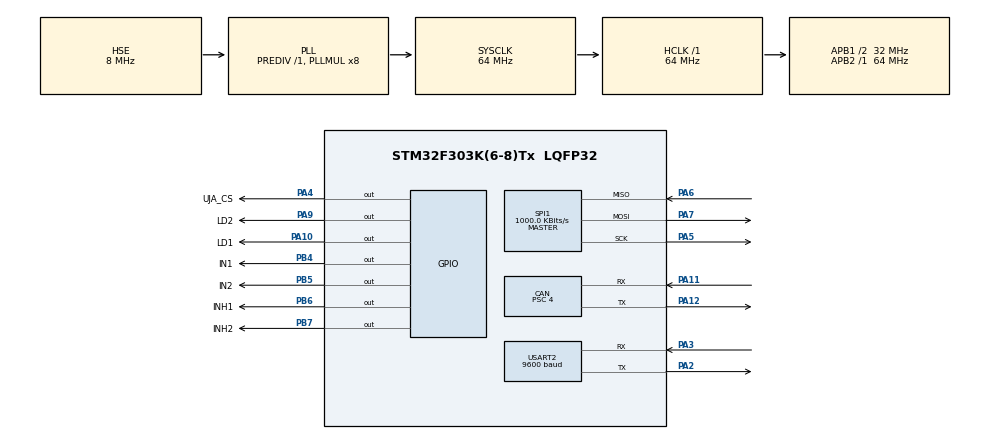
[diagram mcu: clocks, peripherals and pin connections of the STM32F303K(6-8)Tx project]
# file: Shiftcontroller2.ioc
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Mcu.Family=STM32F3
PA6.Mode=Full_Duplex_Master
RCC.CortexFreq_Value=64000000
PF0\ /\ OSC_IN.Mode=HSE-External-Oscillator
SPI1.VirtualType=VM_MASTER
NVIC.CAN_RX0_IRQn=true\:5\:0\:false\:true\:true\:1\:true\:true\:true
CAN.RFLM=DISABLE
RCC.SYSCLKSourceVirtual=RCC_SYSCLKSOURCE_PLLCLK
PA11.Mode=CAN_Activate
PB6.GPIO_Label=INH1
CAN.SJW=CAN_SJW_2TQ
SPI1.TIMode=SPI_TIMODE_DISABLE
ProjectManager.StackSize=0x400
VP_FREERTOS_VS_CMSIS_V2.Mode=CMSIS_V2
CAN.TTCM=DISABLE
PA12.Signal=CAN_TX
CAN.Prescaler=4
SPI1.Direction=SPI_DIRECTION_2LINES
RCC.HCLKFreq_Value=64000000
RCC.APB2TimFreq_Value=64000000
PB6.Signal=GPIO_Output
SPI1.CalculateBaudRate=1000.0 KBits/s
RCC.AHBFreq_Value=64000000
FREERTOS.configUSE_PREEMPTION=1
RCC.HSE_VALUE=8000000
PB3.Mode=JTAG_4_pins
USART2.VirtualMode-Asynchronous=VM_ASYNC
PA15.Mode=JTAG_4_pins
RCC.PLLMUL=RCC_PLL_MUL8
PA14.Mode=JTAG_4_pins
VP_SYS_VS_tim1.Mode=TIM1
CAN.NART=DISABLE
SPI1.DataSize=SPI_DATASIZE_8BIT
PA10.GPIO_Label=LD1
PB7.Signal=GPIO_Output
CAN.CalculateTimeQuantum=125.0
PB7.GPIO_Label=INH2
Mcu.Package=LQFP32
PA6.Signal=SPI1_MISO
NVIC.TimeBase=TIM1_UP_TIM16_IRQn
NVIC.TimeBaseIP=TIM1
PA10.Signal=GPIO_Output
PA15.Signal=SYS_JTDI
PB5.GPIO_Label=IN2
RCC.APB1TimFreq_Value=64000000
CAN.AWUM=DISABLE
SPI1.BaudRatePrescaler=SPI_BAUDRATEPRESCALER_64
PA4.GPIO_Label=UJA_CS
PB4.Signal=GPIO_Output
PA3.Signal=USART2_RX
PA5.Mode=Full_Duplex_Master
RCC.PLLSourceVirtual=RCC_PLLSOURCE_HSE
NVIC.CAN_RX1_IRQn=true\:5\:0\:false\:true\:true\:2\:true\:true\:true
FREERTOS.Tasks01=ShiftCar,24,128,StartShiftCar,Default,NULL,Dynamic,NULL,NULL;FeedWDG,40,128,StartFeedWDG,Default,NULL,Static,FeedWDGBuffer,FeedWDGControlBlock
PA7.Mode=Full_Duplex_Master
CAN.ABOM=ENABLE
CAN.CalculateBaudRate=1000000
PA9.GPIO_Label=LD2
SPI1.CLKPhase=SPI_PHASE_2EDGE
RCC.APB1CLKDivider=RCC_HCLK_DIV2
NVIC.USART2_IRQn=true\:5\:0\:false\:true\:true\:3\:true\:true\:true
USART2.BaudRate=9600
CAN.CalculateTimeBit=1000.00
FREERTOS.configUSE_IDLE_HOOK=1
PA13.Signal=SYS_JTMS-SWDIO
PA3.Mode=Asynchronous
CAN.BS2=CAN_BS2_2TQ
CAN.BS1=CAN_BS1_5TQ
ProjectManager.TargetToolchain=STM32CubeIDE
PA9.Signal=GPIO_Output
CAN.Mode=CAN_MODE_NORMAL
PF1\ /\ OSC_OUT.Signal=RCC_OSC_OUT
PA5.Signal=SPI1_SCK
board=custom
NVIC.SPI1_IRQn=true\:5\:0\:false\:false\:true\:true\:true\:true
RCC.APB2Freq_Value=64000000
PF0\ /\ OSC_IN.Signal=RCC_OSC_IN
PB4.GPIO_Label=IN1
SPI1.Mode=SPI_MODE_MASTER
PA13.Mode=JTAG_4_pins
Mcu.Name=STM32F303K(6-8)Tx
PA2.Signal=USART2_TX
PB3.Signal=SYS_JTDO-TRACESWO
PA4.Signal=GPIO_Output
RCC.SYSCLKFreq_VALUE=64000000
PB5.Signal=GPIO_Output
PA12.Mode=CAN_Activate
PA11.Signal=CAN_RX
PA14.Signal=SYS_JTCK-SWCLK
ProjectManager.HeapSize=0x200
RCC.HSI_VALUE=8000000
NVIC.TIM1_UP_TIM16_IRQn=true\:0\:0\:false\:false\:true\:false\:false\:true
NVIC.PriorityGroup=NVIC_PRIORITYGROUP_4
CAN.TXFP=DISABLE
PA2.Mode=Asynchronous
RCC.APB1Freq_Value=32000000
PF1\ /\ OSC_OUT.Mode=HSE-External-Oscillator
PA7.Signal=SPI1_MOSI

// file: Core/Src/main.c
/* USER CODE BEGIN Header */
/**
  ******************************************************************************
  * @file           : main.c
  * @brief          : Main program body
  ******************************************************************************
  * @attention
  *
  * <h2><center>&copy; Copyright (c) 2020 STMicroelectronics.
  * All rights reserved.</center></h2>
  *
  * This software component is licensed by ST under BSD 3-Clause license,
  * the "License"; You may not use this file except in compliance with the
  * License. You may obtain a copy of the License at:
  *                        opensource.org/licenses/BSD-3-Clause
  *
  ******************************************************************************
  */
/* USER CODE END Header */
#include "main.h"
#include "cmsis_os.h"

/* USER CODE BEGIN Includes */

//For sprintf and memcpy
#include "string.h"
//For atoi
#include "stdlib.h"
//For ceil()
#include "math.h"

/* USER CODE END Includes */

typedef StaticTask_t osStaticThreadDef_t;

/* USER CODE BEGIN PD */

//UJA Register Definitions

#define UJA_REG_WDGANDSTATUS 0
#define UJA_REG_MODECONTROL 1
#define UJA_REG_INTCON 2
#define UJA_REG_INTREAD 3

//WD_and_Status register
//RO
#define UJA_RO_RW 0
#define UJA_RO_R 1

//WMC
#define UJA_WMC_WND 0
#define UJA_WMC_TO 1

//NWP
#define UJA_NWP_8 0
#define UJA_NWP_16 1
#define UJA_NWP_32 2
#define UJA_NWP_64 3
#define UJA_NWP_128 4
#define UJA_NWP_256 5
#define UJA_NWP_1024 6
#define UJA_NWP_4096 7

//Mode_Control register
#define UJA_MC_STBY 0
#define UJA_MC_SLP 1
#define UJA_MC_V2OFF 2
#define UJA_MC_V2ON 3

//Int_Control register
#define UJA_V1UIE_OFF 0
#define UJA_V1UIE_ON 1

#define UJA_V2UIE_OFF 0
#define UJA_V2UIE_ON 1

//Message struct parameter
#define MSG_ENABLED 1
#define MSG_DISABLED 0

//CAN Output Frame bits
#define CAN_TXFRAME0_SHUTDOWN 1
#define CAN_TXFRAME0_BIT2 1<<1

/* USER CODE END PD */

CAN_HandleTypeDef hcan;

SPI_HandleTypeDef hspi1;

UART_HandleTypeDef huart2;

/* Definitions for ShiftCar */
osThreadId_t ShiftCarHandle;
const osThreadAttr_t ShiftCar_attributes = {
  .name = "ShiftCar",
  .priority = (osPriority_t) osPriorityNormal,
  .stack_size = 128 * 4
};
/* Definitions for FeedWDG */
osThreadId_t FeedWDGHandle;
uint32_t FeedWDGBuffer[ 128 ];
osStaticThreadDef_t FeedWDGControlBlock;
const osThreadAttr_t FeedWDG_attributes = {
  .name = "FeedWDG",
  .stack_mem = &FeedWDGBuffer[0],
  .stack_size = sizeof(FeedWDGBuffer),
  .cb_mem = &FeedWDGControlBlock,
  .cb_size = sizeof(FeedWDGControlBlock),
  .priority = (osPriority_t) osPriorityHigh,
};
/* USER CODE BEGIN PV */

struct message
{
	uint32_t id;
	uint8_t  bit;
	uint8_t length;
	int32_t value;
	uint8_t enabled;
};

//Create array of message structs to hold our filter information
struct message messageArray[4];

//Define starting filter array used on startup
const struct message defaultMessageArray[4] =
{
		//{ 0x370,   0,  16,   -1,  MSG_ENABLED  },  //Engine RPM
		{ 0x2C2,   0,   16,   -1,  MSG_ENABLED  },  //Upshift
		{ 0x2C2,  32,   16,   -1,  MSG_ENABLED  },  //Downshift
		{ 0x2C4,   0,   16,   -1,  MSG_ENABLED  },  //NeutralReq
		{ 0x2C6,   0,  32,   -1,  MSG_ENABLED  }   //Engine RPM
};

uint8_t can_rx_data[8];
CAN_RxHeaderTypeDef can_rx_header;

uint8_t can_tx_data[8] = {0, 0, 0, 0, 0, 0, 0, 0};
CAN_TxHeaderTypeDef can_tx_header = {0x200, 0, CAN_ID_STD, CAN_RTR_DATA, 8};

uint8_t uart_rec_buff[24];
char uart_tx_buff[128];

int8_t cmdcharbuffindex = 0;
uint8_t cmdbuff[20][24];
int8_t cmdbuffindex = 0;

uint8_t processingcommand = 0;
uint8_t cmdlen = 0;

const uint8_t WD_SETUP = (UJA_REG_WDGANDSTATUS << 5) | (UJA_RO_RW << 4) | (UJA_WMC_WND << 3) | (UJA_NWP_1024);

/* USER CODE END PV */

void SystemClock_Config(void);
static void MX_GPIO_Init(void);
static void MX_CAN_Init(void);
static void MX_SPI1_Init(void);
static void MX_USART2_UART_Init(void);
void StartShiftCar(void *argument);
void StartFeedWDG(void *argument);

static void MX_NVIC_Init(void);
/* USER CODE BEGIN PFP */

void DebugPrint(char *msg);
void Init_SBC(void);
void ConfigureCANFilters(struct message * messageArray, uint8_t size);
void Init_CAN(void);
void ClearCANBuffers(void);

/* USER CODE END PFP */

/* USER CODE BEGIN 0 */

//Prints a message to UART1 for debugging

//Initializes SBC
void Init_SBC(void)
{
	uint8_t txdata[2];
	uint8_t rxdata[2];

	//Force SBC in standby mode
	txdata[0] = (UJA_REG_MODECONTROL << 5) | (UJA_RO_RW << 4) | (UJA_MC_STBY << 2);
	txdata[1] = 0;
	HAL_GPIO_WritePin(UJA_CS_GPIO_Port, UJA_CS_Pin, 0);
	HAL_SPI_TransmitReceive(&hspi1, txdata, rxdata, 2, 100);
	HAL_GPIO_WritePin(UJA_CS_GPIO_Port, UJA_CS_Pin, 1);

	//Setup WDG and Status register
	txdata[0] = WD_SETUP;
	txdata[1] = 0;
	HAL_GPIO_WritePin(UJA_CS_GPIO_Port, UJA_CS_Pin, 0);
	HAL_SPI_TransmitReceive(&hspi1, txdata, rxdata, 2, 100);
	HAL_GPIO_WritePin(UJA_CS_GPIO_Port, UJA_CS_Pin, 1);

	//Set normal mode and enable CAN voltage
	txdata[0] = (UJA_REG_MODECONTROL << 5) | (UJA_RO_RW << 4) | (UJA_MC_V2ON << 2);
	txdata[1] = 0;
	HAL_GPIO_WritePin(UJA_CS_GPIO_Port, UJA_CS_Pin, 0);
	HAL_SPI_TransmitReceive(&hspi1, txdata, rxdata, 2, 100);
	HAL_GPIO_WritePin(UJA_CS_GPIO_Port, UJA_CS_Pin, 1);
}
/// @brief  Possible STM32 system reset causes
typedef enum reset_cause_e
{
    RESET_CAUSE_UNKNOWN = 0,
    RESET_CAUSE_LOW_POWER_RESET,
    RESET_CAUSE_WINDOW_WATCHDOG_RESET,
    RESET_CAUSE_INDEPENDENT_WATCHDOG_RESET,
    RESET_CAUSE_SOFTWARE_RESET,
    RESET_CAUSE_POWER_ON_POWER_DOWN_RESET,
    RESET_CAUSE_EXTERNAL_RESET_PIN_RESET,
    RESET_CAUSE_BROWNOUT_RESET,
} reset_cause_t;

/// @brief      Obtain the STM32 system reset cause
/// @param      None
/// @return     The system reset cause
reset_cause_t reset_cause_get(void)
{
    reset_cause_t reset_cause;

    if (__HAL_RCC_GET_FLAG(RCC_FLAG_LPWRRST))
    {
        reset_cause = RESET_CAUSE_LOW_POWER_RESET;
    }
    else if (__HAL_RCC_GET_FLAG(RCC_FLAG_WWDGRST))
    {
        reset_cause = RESET_CAUSE_WINDOW_WATCHDOG_RESET;
    }
    else if (__HAL_RCC_GET_FLAG(RCC_FLAG_IWDGRST))
    {
        reset_cause = RESET_CAUSE_INDEPENDENT_WATCHDOG_RESET;
    }
    else if (__HAL_RCC_GET_FLAG(RCC_FLAG_SFTRST))
    {
        // This reset is induced by calling the ARM CMSIS
        // `NVIC_SystemReset()` function!
        reset_cause = RESET_CAUSE_SOFTWARE_RESET;
    }
    else if (__HAL_RCC_GET_FLAG(RCC_FLAG_PORRST))
    {
        reset_cause = RESET_CAUSE_POWER_ON_POWER_DOWN_RESET;
    }
    else if (__HAL_RCC_GET_FLAG(RCC_FLAG_PINRST))
    {
        reset_cause = RESET_CAUSE_EXTERNAL_RESET_PIN_RESET;
    }
    // Needs to come *after* checking the `RCC_FLAG_PORRST` flag in order to
    // ensure first that the reset cause is NOT a POR/PDR reset. See note
    // below.
    else if (__HAL_RCC_GET_FLAG(RCC_FLAG_PORRST))
    {
        reset_cause = RESET_CAUSE_BROWNOUT_RESET;
    }
    else
    {
        reset_cause = RESET_CAUSE_UNKNOWN;
    }

    // Clear all the reset flags or else they will remain set during future
    // resets until system power is fully removed.
    __HAL_RCC_CLEAR_RESET_FLAGS();

    return reset_cause;
}

// Note: any of the STM32 Hardware Abstraction Layer (HAL) Reset and Clock
// Controller (RCC) header files, such as
// "STM32Cube_FW_F7_V1.12.0/Drivers/STM32F7xx_HAL_Driver/Inc/stm32f7xx_hal_rcc.h",
// "STM32Cube_FW_F2_V1.7.0/Drivers/STM32F2xx_HAL_Driver/Inc/stm32f2xx_hal_rcc.h",
// etc., indicate that the brownout flag, `RCC_FLAG_BORRST`, will be set in
// the event of a "POR/PDR or BOR reset". This means that a Power-On Reset
// (POR), Power-Down Reset (PDR), OR Brownout Reset (BOR) will trip this flag.
// See the doxygen just above their definition for the
// `__HAL_RCC_GET_FLAG()` macro to see this:
//      "@arg RCC_FLAG_BORRST: POR/PDR or BOR reset." <== indicates the Brownout
//      Reset flag will *also* be set in the event of a POR/PDR.
// Therefore, you must check the Brownout Reset flag, `RCC_FLAG_BORRST`, *after*
// first checking the `RCC_FLAG_PORRST` flag in order to ensure first that the
// reset cause is NOT a POR/PDR reset.

/// @brief      Obtain the system reset cause as an ASCII-printable name string
///             from a reset cause type
/// @param[in]  reset_cause     The previously-obtained system reset cause
/// @return     A null-terminated ASCII name string describing the system
///             reset cause
const char * reset_cause_get_name(reset_cause_t reset_cause)
{
    const char * reset_cause_name = "TBD";

    switch (reset_cause)
    {
        case RESET_CAUSE_UNKNOWN:
            reset_cause_name = "UNKNOWN";
            break;
        case RESET_CAUSE_LOW_POWER_RESET:
            reset_cause_name = "LOW_POWER_RESET";
            break;
        case RESET_CAUSE_WINDOW_WATCHDOG_RESET:
            reset_cause_name = "WINDOW_WATCHDOG_RESET";
            break;
        case RESET_CAUSE_INDEPENDENT_WATCHDOG_RESET:
            reset_cause_name = "INDEPENDENT_WATCHDOG_RESET";
            break;
        case RESET_CAUSE_SOFTWARE_RESET:
            reset_cause_name = "SOFTWARE_RESET";
            break;
        case RESET_CAUSE_POWER_ON_POWER_DOWN_RESET:
            reset_cause_name = "POWER-ON_RESET (POR) / POWER-DOWN_RESET (PDR)";
            break;
        case RESET_CAUSE_EXTERNAL_RESET_PIN_RESET:
            reset_cause_name = "EXTERNAL_RESET_PIN_RESET";
            break;
        case RESET_CAUSE_BROWNOUT_RESET:
            reset_cause_name = "BROWNOUT_RESET (BOR)";
            break;
    }

    return reset_cause_name;
}

//Procedurally generates and sets CAN Filter configurations from the message[] struct array config
void ConfigureCANFilters(struct message * messageArray, uint8_t size)
{
	uint32_t configuredIDs[size];
	int uniques = 0;
	for (int i = 0; i < size; i++)
	{
		struct message thismessage = messageArray[i];

		//Check if this ID already configured
		int create = 1;
		for (int j = 0; j < size; j++)
		{
			if (configuredIDs[j] == thismessage.id)
			{
				create = 0;
			}
		}
		if (create == 1 && thismessage.enabled)
		{
			//Add this ID to the list of already configured ID's to skip duplicates
			configuredIDs[uniques] = thismessage.id;

			CAN_FilterTypeDef filter;

			//This bit shifting was a massive PITA to figure out... see page 1092 of the RM for reasoning
			filter.FilterIdHigh = ((thismessage.id << 5)  | (thismessage.id >> (32 - 5))) & 0xFFFF;
			filter.FilterIdLow = (thismessage.id >> (11 - 3)) & 0xFFF8;

			//Masks set to full rank to check every bit against ID
			filter.FilterMaskIdHigh = 0xFFFF;
			filter.FilterMaskIdLow = 0xFFFF;

			//Filter options
			filter.FilterScale = CAN_FILTERSCALE_32BIT;
			filter.FilterActivation = ENABLE;
			filter.FilterMode = CAN_FILTERMODE_IDMASK;
			filter.FilterFIFOAssignment = CAN_FILTER_FIFO0;

			//Set filter bank to the current count of uniques
			filter.FilterBank = uniques;

			//Finally pass filter to HAL
			HAL_CAN_ConfigFilter(&hcan, &filter);
			uniques++;
		}
	}
}

void ClearCANBuffers(void)
{
	for (int i = 0; i < 16; i++) {
		messageArray[i].value = -1;
	}
}

void Init_CAN(void)
{
	//Configure all receive filters from the config array
	ConfigureCANFilters(messageArray, sizeof(messageArray) / sizeof(struct message));

	//Start CAN operation
	HAL_CAN_Start(&hcan);

	//Enable Message Pending IRQ
	HAL_CAN_ActivateNotification(&hcan, CAN_IT_RX_FIFO0_MSG_PENDING);

	//Start receiving - don't think we need this here
	HAL_CAN_GetRxMessage(&hcan, CAN_RX_FIFO0, &can_rx_header, can_rx_data);
}

/* USER CODE END 0 */

int main(void)
{

  /* MCU Configuration--------------------------------------------------------*/

  /* Reset of all peripherals, Initializes the Flash interface and the Systick. */
  HAL_Init();

  /* Configure the system clock */
  SystemClock_Config();

  /* Initialize all configured peripherals */
  MX_GPIO_Init();
  MX_CAN_Init();
  MX_SPI1_Init();
  MX_USART2_UART_Init();

  /* Initialize interrupts */
  MX_NVIC_Init();
  /* USER CODE BEGIN 2 */

  HAL_GPIO_WritePin(LD1_GPIO_Port, LD1_Pin, 0);
	HAL_GPIO_WritePin(LD2_GPIO_Port, LD2_Pin, 0);
	HAL_GPIO_WritePin(UJA_CS_GPIO_Port, UJA_CS_Pin, 1);

	Init_SBC();

	//Load default message configuration
	//NOTE: This operation takes approximately 100ms!!!!!
	memcpy(&messageArray, &defaultMessageArray, sizeof(messageArray));

	//Initialize CAN and all filters
	Init_CAN();

  //Start receiving UART
	HAL_UART_Receive_IT(&huart2, uart_rec_buff, 1);

	reset_cause_t reset_cause = reset_cause_get();
	printf("The system reset cause is \"%s\"\n", reset_cause_get_name(reset_cause));
  /* USER CODE END 2 */

  /* Init scheduler */
  osKernelInitialize();

  /* Create the thread(s) */
  /* creation of ShiftCar */
  ShiftCarHandle = osThreadNew(StartShiftCar, NULL, &ShiftCar_attributes);

  /* creation of FeedWDG */
  FeedWDGHandle = osThreadNew(StartFeedWDG, NULL, &FeedWDG_attributes);

  /* Start scheduler */
  osKernelStart();

  /* We should never get here as control is now taken by the scheduler */
  /* Infinite loop */
  while (1)
  {

  }
}

void SystemClock_Config(void)
{
  RCC_OscInitTypeDef RCC_OscInitStruct = {0};
  RCC_ClkInitTypeDef RCC_ClkInitStruct = {0};

  /** Initializes the RCC Oscillators according to the specified parameters
  * in the RCC_OscInitTypeDef structure.
  */
  RCC_OscInitStruct.OscillatorType = RCC_OSCILLATORTYPE_HSE;
  RCC_OscInitStruct.HSEState = RCC_HSE_ON;
  RCC_OscInitStruct.HSEPredivValue = RCC_HSE_PREDIV_DIV1;
  RCC_OscInitStruct.HSIState = RCC_HSI_ON;
  RCC_OscInitStruct.PLL.PLLState = RCC_PLL_ON;
  RCC_OscInitStruct.PLL.PLLSource = RCC_PLLSOURCE_HSE;
  RCC_OscInitStruct.PLL.PLLMUL = RCC_PLL_MUL8;
  if (HAL_RCC_OscConfig(&RCC_OscInitStruct) != HAL_OK)
  {
    Error_Handler();
  }
  /** Initializes the CPU, AHB and APB buses clocks
  */
  RCC_ClkInitStruct.ClockType = RCC_CLOCKTYPE_HCLK|RCC_CLOCKTYPE_SYSCLK
                              |RCC_CLOCKTYPE_PCLK1|RCC_CLOCKTYPE_PCLK2;
  RCC_ClkInitStruct.SYSCLKSource = RCC_SYSCLKSOURCE_PLLCLK;
  RCC_ClkInitStruct.AHBCLKDivider = RCC_SYSCLK_DIV1;
  RCC_ClkInitStruct.APB1CLKDivider = RCC_HCLK_DIV2;
  RCC_ClkInitStruct.APB2CLKDivider = RCC_HCLK_DIV1;

  if (HAL_RCC_ClockConfig(&RCC_ClkInitStruct, FLASH_LATENCY_2) != HAL_OK)
  {
    Error_Handler();
  }
}

/**
  * @brief NVIC Configuration.
  * @retval None
  */
static void MX_NVIC_Init(void)
{
  /* CAN_RX0_IRQn interrupt configuration */
  HAL_NVIC_SetPriority(CAN_RX0_IRQn, 5, 0);
  HAL_NVIC_EnableIRQ(CAN_RX0_IRQn);
  /* CAN_RX1_IRQn interrupt configuration */
  HAL_NVIC_SetPriority(CAN_RX1_IRQn, 5, 0);
  HAL_NVIC_EnableIRQ(CAN_RX1_IRQn);
  /* USART2_IRQn interrupt configuration */
  HAL_NVIC_SetPriority(USART2_IRQn, 5, 0);
  HAL_NVIC_EnableIRQ(USART2_IRQn);
}

static void MX_CAN_Init(void)
{

  hcan.Instance = CAN;
  hcan.Init.Prescaler = 4;
  hcan.Init.Mode = CAN_MODE_NORMAL;
  hcan.Init.SyncJumpWidth = CAN_SJW_2TQ;
  hcan.Init.TimeSeg1 = CAN_BS1_5TQ;
  hcan.Init.TimeSeg2 = CAN_BS2_2TQ;
  hcan.Init.TimeTriggeredMode = DISABLE;
  hcan.Init.AutoBusOff = ENABLE;
  hcan.Init.AutoWakeUp = DISABLE;
  hcan.Init.AutoRetransmission = DISABLE;
  hcan.Init.ReceiveFifoLocked = DISABLE;
  hcan.Init.TransmitFifoPriority = DISABLE;
  if (HAL_CAN_Init(&hcan) != HAL_OK)
  {
    Error_Handler();
  }

}

static void MX_SPI1_Init(void)
{

  /* SPI1 parameter configuration*/
  hspi1.Instance = SPI1;
  hspi1.Init.Mode = SPI_MODE_MASTER;
  hspi1.Init.Direction = SPI_DIRECTION_2LINES;
  hspi1.Init.DataSize = SPI_DATASIZE_8BIT;
  hspi1.Init.CLKPolarity = SPI_POLARITY_LOW;
  hspi1.Init.CLKPhase = SPI_PHASE_2EDGE;
  hspi1.Init.NSS = SPI_NSS_SOFT;
  hspi1.Init.BaudRatePrescaler = SPI_BAUDRATEPRESCALER_64;
  hspi1.Init.FirstBit = SPI_FIRSTBIT_MSB;
  hspi1.Init.TIMode = SPI_TIMODE_DISABLE;
  hspi1.Init.CRCCalculation = SPI_CRCCALCULATION_DISABLE;
  hspi1.Init.CRCPolynomial = 7;
  hspi1.Init.CRCLength = SPI_CRC_LENGTH_DATASIZE;
  hspi1.Init.NSSPMode = SPI_NSS_PULSE_DISABLE;
  if (HAL_SPI_Init(&hspi1) != HAL_OK)
  {
    Error_Handler();
  }

}

static void MX_USART2_UART_Init(void)
{

  huart2.Instance = USART2;
  huart2.Init.BaudRate = 9600;
  huart2.Init.WordLength = UART_WORDLENGTH_8B;
  huart2.Init.StopBits = UART_STOPBITS_1;
  huart2.Init.Parity = UART_PARITY_NONE;
  huart2.Init.Mode = UART_MODE_TX_RX;
  huart2.Init.HwFlowCtl = UART_HWCONTROL_NONE;
  huart2.Init.OverSampling = UART_OVERSAMPLING_16;
  huart2.Init.OneBitSampling = UART_ONE_BIT_SAMPLE_DISABLE;
  huart2.AdvancedInit.AdvFeatureInit = UART_ADVFEATURE_NO_INIT;
  if (HAL_UART_Init(&huart2) != HAL_OK)
  {
    Error_Handler();
  }

}

static void MX_GPIO_Init(void)
{
  GPIO_InitTypeDef GPIO_InitStruct = {0};

  /* GPIO Ports Clock Enable */
  __HAL_RCC_GPIOF_CLK_ENABLE();
  __HAL_RCC_GPIOA_CLK_ENABLE();
  __HAL_RCC_GPIOB_CLK_ENABLE();

  /*Configure GPIO pin Output Level */
  HAL_GPIO_WritePin(GPIOA, UJA_CS_Pin|LD2_Pin|LD1_Pin, GPIO_PIN_RESET);

  /*Configure GPIO pin Output Level */
  HAL_GPIO_WritePin(GPIOB, IN1_Pin|IN2_Pin|INH1_Pin|INH2_Pin, GPIO_PIN_RESET);

  /*Configure GPIO pins : UJA_CS_Pin LD2_Pin LD1_Pin */
  GPIO_InitStruct.Pin = UJA_CS_Pin|LD2_Pin|LD1_Pin;
  GPIO_InitStruct.Mode = GPIO_MODE_OUTPUT_PP;
  GPIO_InitStruct.Pull = GPIO_NOPULL;
  GPIO_InitStruct.Speed = GPIO_SPEED_FREQ_LOW;
  HAL_GPIO_Init(GPIOA, &GPIO_InitStruct);

  /*Configure GPIO pins : IN1_Pin IN2_Pin INH1_Pin INH2_Pin */
  GPIO_InitStruct.Pin = IN1_Pin|IN2_Pin|INH1_Pin|INH2_Pin;
  GPIO_InitStruct.Mode = GPIO_MODE_OUTPUT_PP;
  GPIO_InitStruct.Pull = GPIO_NOPULL;
  GPIO_InitStruct.Speed = GPIO_SPEED_FREQ_LOW;
  HAL_GPIO_Init(GPIOB, &GPIO_InitStruct);

}

/* USER CODE BEGIN 4 */

//IRQ's
void HAL_UART_RxCpltCallback(UART_HandleTypeDef *huart)
{
	//Check if enter or cmdbuff reaches its limit (prevents overflow)
	if (uart_rec_buff[0] == *(uint8_t *)"\r" || cmdcharbuffindex > 23)
	{
		//Make sure theres more than just \r sent.
		if (cmdcharbuffindex != 0)
		{
			//Increase command buffer index
			cmdbuffindex++;

			//Limit number of commands to 16.
			if (cmdbuffindex > 16)
			{
				cmdbuffindex = 16;
			}
			//Pass command onto task

			//Reset char index
			cmdcharbuffindex = 0;
		}
	}
	else
	{
		//Put received char into buffer
		cmdbuff[cmdbuffindex][cmdcharbuffindex] = uart_rec_buff[0];
		//Increase char index
		cmdcharbuffindex++;
	}

	//Start receiving again
	HAL_UART_Receive_IT(huart, uart_rec_buff, 1);
}

void HAL_CAN_RxFifo0MsgPendingCallback(CAN_HandleTypeDef *hcan)
{
	//Get the received message.
	HAL_CAN_GetRxMessage(hcan, CAN_RX_FIFO0, &can_rx_header, can_rx_data);

	//Parse received bytes using message array
	for(int i=0; i < sizeof(messageArray) / sizeof(struct message); i++)
	{
		if(messageArray[i].id == can_rx_header.StdId)
		{

			//Calculate which byte position to start at
			int bytepos = messageArray[i].bit / 8;

			//Calculate number of bytes that need to be checked
			int bytes = ceil(messageArray[i].length / (float)8);

			uint32_t finalval = 0;
			int j = 0;

			//Iterate through all bytes that must be read for this message
			for (int b = bytepos; b < bytepos + bytes; b++)
			{
				uint8_t tempval;
				//If on last byte we may need to truncate unneeded parts dependent on length of data
				if (b == bytepos + bytes - 1)
				{
					//We need a left shift and a right shift to extract the bits we want
					uint8_t byteoffset = (messageArray[i].length - ((bytes-1) * 8));
					uint8_t leftshift = 8 - (messageArray[i].bit - (bytepos * 8)) - byteoffset;
					uint8_t rightshift = 8 - byteoffset;
					tempval = (can_rx_data[b] << leftshift) >>  rightshift;
				}
				else
				{
					//Use the whole byte
					tempval = can_rx_data[b];
				}
				//Calculate the size of the next data section to find the required shift
				int nextsize = messageArray[i].length - ((j+1) * 8);

				//Limit it to 0
				if (nextsize < 0)
				{
					nextsize = 0;
				}
				finalval += tempval << nextsize;
				j++;
			}

			//Finally set final value into message array struct
			messageArray[i].value = finalval;
		}
	}
}

/* USER CODE END 4 */

void StartShiftCar(void *argument)
{
  /* USER CODE BEGIN 5 */
	int shiftvalue=0;
  /* Infinite loop */
  for(;;)
  {
    if (messageArray[0].value==64001 && messageArray[1].value == 1 && messageArray[2].value == 1 && shiftvalue==0)
    {
    	HAL_GPIO_WritePin(INH1_GPIO_Port, INH1_Pin, GPIO_PIN_SET);
    	HAL_GPIO_WritePin (INH2_GPIO_Port, INH2_Pin, GPIO_PIN_SET);
    	HAL_GPIO_WritePin (IN1_GPIO_Port, IN1_Pin, GPIO_PIN_SET);
    	HAL_GPIO_WritePin (IN2_GPIO_Port, IN2_Pin, GPIO_PIN_RESET);

    	HAL_Delay(30);

    	HAL_GPIO_WritePin (INH1_GPIO_Port, INH1_Pin, GPIO_PIN_RESET);
    	HAL_GPIO_WritePin (INH2_GPIO_Port, INH2_Pin, GPIO_PIN_RESET);
    	HAL_GPIO_WritePin (IN1_GPIO_Port, IN1_Pin, GPIO_PIN_RESET);
    	HAL_GPIO_WritePin (IN2_GPIO_Port, IN2_Pin, GPIO_PIN_RESET);
    	shiftvalue=1;
    }

    if (messageArray[0].value == 1 && messageArray[1].value ==64001 && messageArray[2].value == 1 && messageArray[3].value<=10500 && shiftvalue==0)
    {
    	HAL_GPIO_WritePin (INH1_GPIO_Port, INH1_Pin, GPIO_PIN_SET);
    	HAL_GPIO_WritePin (INH2_GPIO_Port, INH2_Pin, GPIO_PIN_SET);
    	HAL_GPIO_WritePin (IN1_GPIO_Port, IN1_Pin, GPIO_PIN_RESET);
    	HAL_GPIO_WritePin (IN2_GPIO_Port, IN2_Pin, GPIO_PIN_SET);

    	HAL_Delay(30);

    	HAL_GPIO_WritePin (INH1_GPIO_Port, INH1_Pin, GPIO_PIN_RESET);
		HAL_GPIO_WritePin (INH2_GPIO_Port, INH2_Pin, GPIO_PIN_RESET);
		HAL_GPIO_WritePin (IN1_GPIO_Port, IN1_Pin, GPIO_PIN_RESET);
		HAL_GPIO_WritePin (IN2_GPIO_Port, IN2_Pin, GPIO_PIN_RESET);
    	shiftvalue=2;
    }

    if (messageArray[0].value ==1 && messageArray[1].value == 1 && messageArray[2].value == 64001 && messageArray[3].value<=7000 && shiftvalue==0)
    {
    	HAL_GPIO_WritePin (INH1_GPIO_Port, INH1_Pin, GPIO_PIN_SET);
		HAL_GPIO_WritePin (INH2_GPIO_Port, INH2_Pin, GPIO_PIN_SET);
		HAL_GPIO_WritePin (IN1_GPIO_Port, IN1_Pin, GPIO_PIN_SET);
		HAL_GPIO_WritePin (IN2_GPIO_Port, IN2_Pin, GPIO_PIN_RESET);

		HAL_Delay(10);

		HAL_GPIO_WritePin (INH1_GPIO_Port, INH1_Pin, GPIO_PIN_RESET);
		HAL_GPIO_WritePin (INH2_GPIO_Port, INH2_Pin, GPIO_PIN_RESET);
		HAL_GPIO_WritePin (IN1_GPIO_Port, IN1_Pin, GPIO_PIN_RESET);
		HAL_GPIO_WritePin (IN2_GPIO_Port, IN2_Pin, GPIO_PIN_RESET);
    	shiftvalue=3;
    }

    if (messageArray[0].value ==1 && messageArray[1].value == 1 && messageArray[2].value == 1 && shiftvalue!=0)
    {
    	shiftvalue=0;
    }

  }
  /* USER CODE END 5 */
}

void StartFeedWDG(void *argument)
{
  /* USER CODE BEGIN StartFeedWDG */
  /* Infinite loop */
  for(;;)
  {
  	//600 milliseconds is in the lower end of the watchdog window as currently configured in the SBC.
  	osDelay(600);
    uint8_t rxdata[2];
    uint8_t txdata[2];

    txdata[0] = WD_SETUP;
		txdata[1] = 0;

		HAL_GPIO_WritePin(UJA_CS_GPIO_Port, UJA_CS_Pin, 0);
		HAL_SPI_TransmitReceive(&hspi1, txdata, rxdata, 2, 100);
		HAL_GPIO_WritePin(UJA_CS_GPIO_Port, UJA_CS_Pin, 1);

		//Toggle LED
		HAL_GPIO_TogglePin(LD1_GPIO_Port,LD1_Pin);
  }
  /* USER CODE END StartFeedWDG */
}

 /**
  * @brief  Period elapsed callback in non blocking mode
  * @note   This function is called  when TIM1 interrupt took place, inside
  * HAL_TIM_IRQHandler(). It makes a direct call to HAL_IncTick() to increment
  * a global variable "uwTick" used as application time base.
  * @param  htim : TIM handle
  * @retval None
  */
void HAL_TIM_PeriodElapsedCallback(TIM_HandleTypeDef *htim)
{
  if (htim->Instance == TIM1) {
    HAL_IncTick();
  }
}

void Error_Handler(void)
{
}

/************************ (C) COPYRIGHT STMicroelectronics *****END OF FILE****/

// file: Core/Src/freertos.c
/* USER CODE BEGIN Header */
/**
  ******************************************************************************
  * File Name          : freertos.c
  * Description        : Code for freertos applications
  ******************************************************************************
  * @attention
  *
  * <h2><center>&copy; Copyright (c) 2022 STMicroelectronics.
  * All rights reserved.</center></h2>
  *
  * This software component is licensed by ST under Ultimate Liberty license
  * SLA0044, the "License"; You may not use this file except in compliance with
  * the License. You may obtain a copy of the License at:
  *                             www.st.com/SLA0044
  *
  ******************************************************************************
  */
/* USER CODE END Header */

#include "FreeRTOS.h"
#include "task.h"
#include "main.h"

/* Hook prototypes */
void vApplicationIdleHook(void);

/* USER CODE BEGIN 2 */
void vApplicationIdleHook( void )
{
   /* vApplicationIdleHook() will only be called if configUSE_IDLE_HOOK is set
   to 1 in FreeRTOSConfig.h. It will be called on each iteration of the idle
   task. It is essential that code added to this hook function never attempts
   to block in any way (for example, call xQueueReceive() with a block time
   specified, or call vTaskDelay()). If the application makes use of the
   vTaskDelete() API function (as this demo application does) then it is also
   important that vApplicationIdleHook() is permitted to return to its calling
   function, because it is the responsibility of the idle task to clean up
   memory allocated by the kernel to any task that has since been deleted. */
}
/* USER CODE END 2 */

/************************ (C) COPYRIGHT STMicroelectronics *****END OF FILE****/
